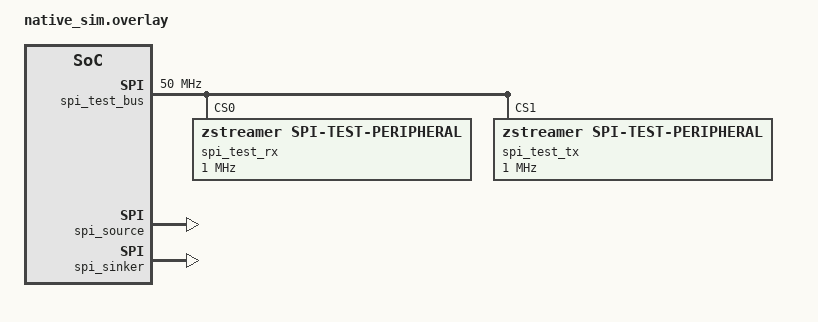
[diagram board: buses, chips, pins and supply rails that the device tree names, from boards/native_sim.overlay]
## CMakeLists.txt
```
# Copyright (c) 2026 zstreamer contributors
# SPDX-License-Identifier: Apache-2.0

cmake_minimum_required(VERSION 3.20.0)

# Pick up test-local DTS bindings.
list(APPEND DTS_ROOT ${CMAKE_CURRENT_SOURCE_DIR})

find_package(Zephyr REQUIRED HINTS $ENV{ZEPHYR_BASE})
project(zstnode_spi_test)

target_sources(app PRIVATE
  src/main.c
  src/spi_test_peripheral.c
)
```

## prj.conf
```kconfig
# Copyright (c) 2026 zstreamer contributors
# SPDX-License-Identifier: Apache-2.0

CONFIG_ZTEST=y
CONFIG_ZSTREAMER=y
CONFIG_ZSTNODE=y
CONFIG_SPI=y
CONFIG_SPI_EMUL=y
CONFIG_EMUL=y
CONFIG_LOG=y
CONFIG_RING_BUFFER=y
```

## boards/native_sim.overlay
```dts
/*
 * Copyright (c) 2026 zstreamer contributors
 * SPDX-License-Identifier: Apache-2.0
 */

/ {
	spi_test_bus: spi-emul-test@10000 {
		compatible = "zephyr,spi-emul-controller";
		reg = <0x10000 4>;
		clock-frequency = <50000000>;
		#address-cells = <1>;
		#size-cells = <0>;

		spi_test_rx: spi-test-rx@0 {
			compatible = "zstreamer,spi-test-peripheral";
			reg = <0>;
			spi-max-frequency = <1000000>;
		};

		spi_test_tx: spi-test-tx@1 {
			compatible = "zstreamer,spi-test-peripheral";
			reg = <1>;
			spi-max-frequency = <1000000>;
		};
	};

	spi_streaming_graph: spi-streaming-graph {
		compatible = "zstreamer,graph";
		#address-cells = <1>;
		#size-cells = <0>;
		buf-num = <8>;
		buffer-size = <1024>;

		spi_source: spi-source@0 {
			compatible = "zstreamer,zstsrc-spi";
			reg = <0>;
			spi-device = <&spi_test_rx>;
			children = <&spi_sinker>;
			rx-length = <64>;
			thread-stack-size = <1024>;
			thread-priority = <5>;
		};

		spi_sinker: spi-sinker@1 {
			compatible = "zstreamer,zstsink-spi";
			reg = <1>;
			spi-device = <&spi_test_tx>;
			thread-stack-size = <1024>;
			thread-priority = <5>;
		};
	};
};
```

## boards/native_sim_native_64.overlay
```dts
/*
 * Copyright (c) 2026 sharonthecreator
 * SPDX-License-Identifier: Apache-2.0
 */

/ {
	spi_test_bus: spi-emul-test@10000 {
		compatible = "zephyr,spi-emul-controller";
		reg = <0x10000 4>;
		clock-frequency = <50000000>;
		#address-cells = <1>;
		#size-cells = <0>;

		spi_test_rx: spi-test-rx@0 {
			compatible = "zstreamer,spi-test-peripheral";
			reg = <0>;
			spi-max-frequency = <1000000>;
		};

		spi_test_tx: spi-test-tx@1 {
			compatible = "zstreamer,spi-test-peripheral";
			reg = <1>;
			spi-max-frequency = <1000000>;
		};
	};

	spi_streaming_graph: spi-streaming-graph {
		compatible = "zstreamer,graph";
		#address-cells = <1>;
		#size-cells = <0>;
		buffer-count = <8>;
		buffer-size = <1024>;

		spi_source: spi-source@0 {
			compatible = "zstreamer,zstsrc-spi";
			reg = <0>;
			spi-device = <&spi_test_rx>;
			children = <&spi_sinker>;
			rx-length = <64>;
			thread-stack-size = <1024>;
			thread-priority = <5>;
		};

		spi_sinker: spi-sinker@1 {
			compatible = "zstreamer,zstsink-spi";
			reg = <1>;
			spi-device = <&spi_test_tx>;
			thread-stack-size = <1024>;
			thread-priority = <5>;
		};
	};
};
```

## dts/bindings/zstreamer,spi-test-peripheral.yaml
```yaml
# Copyright (c) 2026 zstreamer contributors
# SPDX-License-Identifier: Apache-2.0

description: |
  SPI test peripheral for zstnode SPI driver tests.
  Provides a programmable RX buffer and captures TX data.

compatible: "zstreamer,spi-test-peripheral"

include:
  - name: spi-device.yaml
```

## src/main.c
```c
/*
 * Copyright (c) 2026 sharonthecreator
 * SPDX-License-Identifier: Apache-2.0
 *
 * SPI zstnode driver tests.
 *
 * Tests the zstsrc-spi (source) and zstsink-spi (sink) drivers
 * using the SPI emulator on native_sim. Only the polling path
 * is exercised because the SPI emulator does not support async.
 */

#include <string.h>

#include <zephyr/ztest.h>
#include <zephyr/device.h>
#include <zephyr/net_buf.h>

#include <zstreamer/zstnode.h>

#include "spi_test_peripheral.h"

#define GRAPH_NODE      DT_NODELABEL(spi_streaming_graph)
#define SRC_NODE        DT_NODELABEL(spi_source)
#define SINK_NODE       DT_NODELABEL(spi_sinker)
#define SPI_RX_DEV_NODE DT_NODELABEL(spi_test_rx)
#define SPI_TX_DEV_NODE DT_NODELABEL(spi_test_tx)

static const struct device *graph_dev = DEVICE_DT_GET(GRAPH_NODE);
static const struct device *src_dev = DEVICE_DT_GET(SRC_NODE);
static const struct device *sink_dev = DEVICE_DT_GET(SINK_NODE);
static const struct device *spi_rx_dev = DEVICE_DT_GET(SPI_RX_DEV_NODE);
static const struct device *spi_tx_dev = DEVICE_DT_GET(SPI_TX_DEV_NODE);

/* Drain stale data and stop the source between tests. */
static void cleanup(void *fixture)
{
	ARG_UNUSED(fixture);

	zstnode_stop(src_dev);
	spi_test_flush_rx(spi_rx_dev);
	spi_test_flush_tx(spi_tx_dev);
}

ZTEST_SUITE(zstnode_spi, NULL, NULL, cleanup, cleanup, NULL);

/* ------------------------------------------------------------------ */
/* Basic functional tests                                              */
/* ------------------------------------------------------------------ */

ZTEST(zstnode_spi, test_devices_ready)
{
	zassert_true(device_is_ready(graph_dev), "graph not ready");
	zassert_true(device_is_ready(src_dev), "src not ready");
	zassert_true(device_is_ready(sink_dev), "sink not ready");
	zassert_true(device_is_ready(spi_rx_dev), "spi rx dev not ready");
	zassert_true(device_is_ready(spi_tx_dev), "spi tx dev not ready");
}

ZTEST(zstnode_spi, test_start_stop)
{
	int ret;

	/* Sink start/stop must return -ENOTSUP (non-source). */
	ret = zstnode_start(sink_dev);
	zassert_equal(ret, -ENOTSUP, "sink start: %d", ret);

	ret = zstnode_stop(sink_dev);
	zassert_equal(ret, -ENOTSUP, "sink stop: %d", ret);

	/* Source start/stop. */
	ret = zstnode_start(src_dev);
	zassert_equal(ret, 0, "src start failed: %d", ret);

	/* Starting again must return -EALREADY. */
	ret = zstnode_start(src_dev);
	zassert_equal(ret, -EALREADY, "double start: %d", ret);

	ret = zstnode_stop(src_dev);
	zassert_equal(ret, 0, "src stop failed: %d", ret);

	/* Stopping again must return -EALREADY. */
	ret = zstnode_stop(src_dev);
	zassert_equal(ret, -EALREADY, "double stop: %d", ret);
}

ZTEST(zstnode_spi, test_buf_alloc)
{
	struct net_buf *buf;

	buf = zstnode_alloc_buf(src_dev, K_MSEC(100));
	zassert_not_null(buf, "buf alloc failed");
	zassert_true(net_buf_tailroom(buf) > 0, "no tailroom");
	net_buf_unref(buf);
}

ZTEST(zstnode_spi, test_spi_relay)
{
	/*
	 * Pre-load data into the source SPI peripheral emulator.
	 * The source node reads from SPI, the data flows through
	 * the pipeline, and the sink node writes it to the other
	 * SPI peripheral. We then extract what the sink wrote.
	 */
	const uint8_t tx_data[] = "hello spi";
	const size_t tx_len = sizeof(tx_data) - 1;
	uint8_t rx_buf[64];
	uint32_t rx_len;
	int ret;

	/*
	 * Load enough data for the source's rx-length (64 bytes).
	 * The first 9 bytes are our payload; the rest will be zeros
	 * from the emulator's zero-fill when the ring buffer is empty.
	 */
	spi_test_put_rx_data(spi_rx_dev, tx_data, tx_len);

	ret = zstnode_start(src_dev);
	zassert_equal(ret, 0, "src start: %d", ret);

	/* Let the pipeline process data.
	 * The source reads 64-byte frames. Give it time for one cycle.
	 */
	k_msleep(500);

	ret = zstnode_stop(src_dev);
	zassert_equal(ret, 0);

	rx_len = spi_test_get_tx_data(spi_tx_dev, rx_buf, sizeof(rx_buf));
	/*
	 * The source reads 64 bytes per transaction, so the sink
	 * should have written at least 64 bytes. Verify the first
	 * tx_len bytes match our input.
	 */
	zassert_true(rx_len >= tx_len,
		     "expected at least %u bytes, got %u", tx_len, rx_len);
	zassert_mem_equal(rx_buf, tx_data, tx_len, "relayed data mismatch");
}

ZTEST(zstnode_spi, test_spi_long_transfer)
{
	/*
	 * Stream 256 bytes through the SPI pipeline.
	 * The source reads 64 bytes per frame, so this requires
	 * at least 4 read cycles.
	 */
	uint8_t tx_data[256];
	uint8_t rx_buf[300];
	uint32_t rx_total;
	int ret;

	for (size_t i = 0; i < sizeof(tx_data); i++) {
		tx_data[i] = (uint8_t)(i & 0xff);
	}

	spi_test_put_rx_data(spi_rx_dev, tx_data, sizeof(tx_data));

	ret = zstnode_start(src_dev);
	zassert_equal(ret, 0);

	k_msleep(2000);

	ret = zstnode_stop(src_dev);
	zassert_equal(ret, 0);

	rx_total = spi_test_get_tx_data(spi_tx_dev, rx_buf, sizeof(rx_buf));
	/*
	 * We expect at least 256 bytes to have been relayed.
	 * The source may have read extra zero-filled frames beyond
	 * the 256 bytes we loaded, so rx_total >= 256.
	 */
	zassert_true(rx_total >= sizeof(tx_data),
		     "long xfer: expected >= %u, got %u",
		     (unsigned)sizeof(tx_data), rx_total);
	zassert_mem_equal(rx_buf, tx_data, sizeof(tx_data));
}

ZTEST(zstnode_spi, test_spi_restart_cycle)
{
	uint8_t pattern[8] = {0xAA, 0xBB, 0xCC, 0xDD, 0x11, 0x22, 0x33, 0x44};
	uint8_t rx_buf[64];
	uint32_t rx_len;

	for (int cycle = 0; cycle < 5; cycle++) {
		int ret;

		spi_test_flush_rx(spi_rx_dev);
		spi_test_flush_tx(spi_tx_dev);

		spi_test_put_rx_data(spi_rx_dev, pattern, sizeof(pattern));

		ret = zstnode_start(src_dev);
		zassert_equal(ret, 0, "cycle %d src start", cycle);

		k_msleep(300);

		ret = zstnode_stop(src_dev);
		zassert_equal(ret, 0);

		rx_len = spi_test_get_tx_data(spi_tx_dev,
					      rx_buf, sizeof(rx_buf));
		zassert_true(rx_len >= sizeof(pattern),
			     "cycle %d: expected >= %u, got %u",
			     cycle, (unsigned)sizeof(pattern), rx_len);
		zassert_mem_equal(rx_buf, pattern, sizeof(pattern),
				  "cycle %d: data mismatch", cycle);
	}
}

ZTEST(zstnode_spi, test_spi_stress)
{
	/*
	 * Push 1024 bytes through the pipeline.
	 * Each SPI read is 64 bytes, so the source must complete
	 * 16 read transactions.
	 */
	uint8_t tx_data[1024];
	uint8_t rx_buf[1100];
	uint32_t rx_total;
	int ret;

	for (size_t i = 0; i < sizeof(tx_data); i++) {
		tx_data[i] = (uint8_t)((i * 7 + 13) & 0xff);
	}

	spi_test_put_rx_data(spi_rx_dev, tx_data, sizeof(tx_data));

	ret = zstnode_start(src_dev);
	zassert_equal(ret, 0);

	k_msleep(3000);

	ret = zstnode_stop(src_dev);
	zassert_equal(ret, 0);

	rx_total = spi_test_get_tx_data(spi_tx_dev, rx_buf, sizeof(rx_buf));
	zassert_true(rx_total >= sizeof(tx_data),
		     "stress: expected >= %u, got %u",
		     (unsigned)sizeof(tx_data), rx_total);
	zassert_mem_equal(rx_buf, tx_data, sizeof(tx_data));
}

/* ------------------------------------------------------------------ */
/* Pattern verification for large transfers                            */
/* ------------------------------------------------------------------ */

static inline uint8_t pattern_byte(uint32_t pos)
{
	return (uint8_t)((pos * 131u + 17u) & 0xffu);
}

ZTEST(zstnode_spi, test_spi_large_verified)
{
	/*
	 * Stream 4 KiB and verify every byte.
	 * Load the full payload into the source emulator first,
	 * then run the pipeline and verify on the sink side.
	 */
	static uint8_t tx_data[4096];
	static uint8_t rx_data[4200];
	uint32_t rx_total;
	int ret;

	for (size_t i = 0; i < sizeof(tx_data); i++) {
		tx_data[i] = pattern_byte(i);
	}

	spi_test_put_rx_data(spi_rx_dev, tx_data, sizeof(tx_data));

	ret = zstnode_start(src_dev);
	zassert_equal(ret, 0);

	k_msleep(5000);

	ret = zstnode_stop(src_dev);
	zassert_equal(ret, 0);

	rx_total = spi_test_get_tx_data(spi_tx_dev, rx_data, sizeof(rx_data));
	zassert_true(rx_total >= sizeof(tx_data),
		     "large: expected >= %u, got %u",
		     (unsigned)sizeof(tx_data), rx_total);

	for (size_t i = 0; i < sizeof(tx_data); i++) {
		zassert_equal(rx_data[i], tx_data[i],
			      "mismatch at byte %u: 0x%02x != 0x%02x",
			      (unsigned)i, rx_data[i], tx_data[i]);
	}
}
```

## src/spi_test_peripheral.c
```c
/*
 * Copyright (c) 2026 zstreamer contributors
 * SPDX-License-Identifier: Apache-2.0
 *
 * SPI test peripheral: a minimal device + emulator for testing
 * zstnode SPI source/sink drivers on native_sim.
 *
 * Provides ring buffers for RX (data returned to master on reads)
 * and TX (data captured from master writes).
 */

#define DT_DRV_COMPAT zstreamer_spi_test_peripheral

#include <zephyr/device.h>
#include <zephyr/drivers/emul.h>
#include <zephyr/drivers/spi.h>
#include <zephyr/drivers/spi_emul.h>
#include <zephyr/sys/ring_buffer.h>
#include <zephyr/logging/log.h>

#include "spi_test_peripheral.h"

LOG_MODULE_REGISTER(spi_test_peripheral, LOG_LEVEL_DBG);

#define RING_BUF_SIZE 4096

struct spi_test_data {
	struct ring_buf rx_ring;
	uint8_t rx_buf[RING_BUF_SIZE];
	struct ring_buf tx_ring;
	uint8_t tx_buf[RING_BUF_SIZE];
};

/* ------------------------------------------------------------------ */
/* Public helpers for test code                                        */
/* ------------------------------------------------------------------ */

uint32_t spi_test_put_rx_data(const struct device *dev,
			      const uint8_t *data, size_t len)
{
	struct spi_test_data *ddata = dev->data;

	return ring_buf_put(&ddata->rx_ring, data, len);
}

uint32_t spi_test_get_tx_data(const struct device *dev,
			      uint8_t *buf, size_t len)
{
	struct spi_test_data *ddata = dev->data;

	return ring_buf_get(&ddata->tx_ring, buf, len);
}

void spi_test_flush_rx(const struct device *dev)
{
	struct spi_test_data *ddata = dev->data;

	ring_buf_reset(&ddata->rx_ring);
}

void spi_test_flush_tx(const struct device *dev)
{
	struct spi_test_data *ddata = dev->data;

	ring_buf_reset(&ddata->tx_ring);
}

/* ------------------------------------------------------------------ */
/* Emulator I/O callback                                               */
/* ------------------------------------------------------------------ */

static int spi_test_emul_io(const struct emul *target,
			    const struct spi_config *config,
			    const struct spi_buf_set *tx_bufs,
			    const struct spi_buf_set *rx_bufs)
{
	struct spi_test_data *data = target->data;

	ARG_UNUSED(config);

	/* Capture TX data from master. */
	if (tx_bufs != NULL) {
		for (size_t i = 0; i < tx_bufs->count; i++) {
			const struct spi_buf *b = &tx_bufs->buffers[i];

			if (b->buf != NULL && b->len > 0) {
				ring_buf_put(&data->tx_ring, b->buf, b->len);
			}
		}
	}

	/* Fill RX data for master. */
	if (rx_bufs != NULL) {
		for (size_t i = 0; i < rx_bufs->count; i++) {
			struct spi_buf *b = (struct spi_buf *)&rx_bufs->buffers[i];

			if (b->buf != NULL && b->len > 0) {
				uint32_t got = ring_buf_get(&data->rx_ring,
							    b->buf, b->len);
				/* Zero-fill if not enough data. */
				if (got < b->len) {
					memset((uint8_t *)b->buf + got, 0,
					       b->len - got);
				}
			}
		}
	}

	return 0;
}

static const struct spi_emul_api spi_test_emul_api = {
	.io = spi_test_emul_io,
};

/* ------------------------------------------------------------------ */
/* Device driver (minimal, just makes DEVICE_DT_GET work)             */
/* ------------------------------------------------------------------ */

static int spi_test_dev_init(const struct device *dev)
{
	struct spi_test_data *data = dev->data;

	ring_buf_init(&data->rx_ring, sizeof(data->rx_buf), data->rx_buf);
	ring_buf_init(&data->tx_ring, sizeof(data->tx_buf), data->tx_buf);
	return 0;
}

/* ------------------------------------------------------------------ */
/* Emulator init                                                       */
/* ------------------------------------------------------------------ */

static int spi_test_emul_init(const struct emul *target,
			      const struct device *parent)
{
	ARG_UNUSED(target);
	ARG_UNUSED(parent);
	return 0;
}

/* ------------------------------------------------------------------ */
/* Instantiation                                                       */
/* ------------------------------------------------------------------ */

#define SPI_TEST_PERIPHERAL_DEFINE(inst)                                        \
	static struct spi_test_data spi_test_data_##inst;                      \
	DEVICE_DT_INST_DEFINE(inst, spi_test_dev_init, NULL,                   \
			      &spi_test_data_##inst, NULL,                     \
			      POST_KERNEL,                                     \
			      CONFIG_KERNEL_INIT_PRIORITY_DEVICE, NULL);       \
	EMUL_DT_INST_DEFINE(inst, spi_test_emul_init,                          \
			    &spi_test_data_##inst, NULL,                        \
			    &spi_test_emul_api, NULL);

DT_INST_FOREACH_STATUS_OKAY(SPI_TEST_PERIPHERAL_DEFINE)
```

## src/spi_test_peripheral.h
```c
/*
 * Copyright (c) 2026 zstreamer contributors
 * SPDX-License-Identifier: Apache-2.0
 */

#ifndef SPI_TEST_PERIPHERAL_H_
#define SPI_TEST_PERIPHERAL_H_

#include <zephyr/device.h>
#include <stddef.h>
#include <stdint.h>

/**
 * @brief Load data into the emulator's RX buffer.
 *
 * This data will be returned to the SPI master on subsequent reads.
 *
 * @param dev    The test peripheral device.
 * @param data   Data to load.
 * @param len    Number of bytes.
 * @return Number of bytes actually loaded.
 */
uint32_t spi_test_put_rx_data(const struct device *dev,
			      const uint8_t *data, size_t len);

/**
 * @brief Retrieve data that was written by the SPI master.
 *
 * @param dev    The test peripheral device.
 * @param buf    Buffer to fill.
 * @param len    Maximum bytes to retrieve.
 * @return Number of bytes actually retrieved.
 */
uint32_t spi_test_get_tx_data(const struct device *dev,
			      uint8_t *buf, size_t len);

/**
 * @brief Flush (discard) all pending RX data.
 */
void spi_test_flush_rx(const struct device *dev);

/**
 * @brief Flush (discard) all captured TX data.
 */
void spi_test_flush_tx(const struct device *dev);

#endif /* SPI_TEST_PERIPHERAL_H_ */
```
